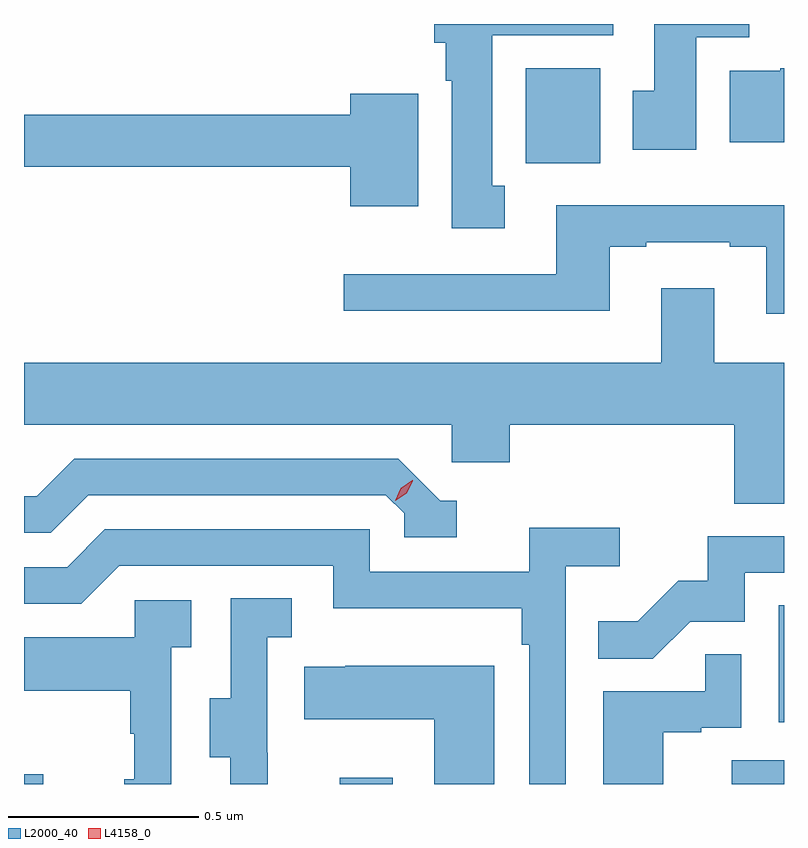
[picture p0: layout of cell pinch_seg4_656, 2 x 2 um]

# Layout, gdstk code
import gdstk
lib = gdstk.Library(unit=1e-6, precision=1e-09)
def R(c, l, rs):  # rectangles x0, y0, x1, y1
    for r in rs: c.add(gdstk.rectangle(r[:2], r[2:], *l))
def P(c, l, *ps):  # polygons
    for p in ps: c.add(gdstk.Polygon(p, *l))
L2000_40 = (2000, 40)
L4158_0 = (4158, 0)

pinch_seg4_656 = lib.new_cell('pinch_seg4_656')
R(pinch_seg4_656, L2000_40, [(1049.378,755.915,1049.429,755.941), (1050.209,755.915,1050.349,755.932), (1051.241,755.915,1051.378,755.978), (1051.364,756.078,1051.378,756.385), (1050.699,757.548,1050.895,757.798)])
P(pinch_seg4_656, L2000_40, [(1050.643,757.489),(1050.61,757.489),(1050.61,757.886),(1050.928,757.886),(1050.928,757.915),(1050.458,757.915),(1050.458,757.866),(1050.488,757.866),(1050.488,757.766),(1050.503,757.766),(1050.503,757.377),(1050.643,757.377)],
  [(1051.147,757.88),(1051.286,757.88),(1051.286,757.915),(1051.037,757.915),(1051.037,757.74),(1050.98,757.74),(1050.98,757.584),(1051.147,757.584)],
  [(1051.378,757.798),(1051.368,757.798),(1051.368,757.792),(1051.235,757.792),(1051.235,757.604),(1051.378,757.604)],
  [(1050.415,757.732),(1050.236,757.732),(1050.236,757.676),(1049.378,757.676),(1049.378,757.54),(1050.236,757.54),(1050.236,757.436),(1050.415,757.436)],
  [(1051.378,757.438),(1050.779,757.438),(1050.779,757.257),(1050.219,757.257),(1050.219,757.16),(1050.919,757.16),(1050.919,757.329),(1051.015,757.329),(1051.015,757.341),(1051.235,757.341),(1051.235,757.329),(1051.331,757.329),(1051.331,757.152),(1051.378,757.152)],
  [(1051.378,757.024),(1051.195,757.024),(1051.195,757.219),(1051.055,757.219),(1051.055,757.024),(1049.378,757.024),(1049.378,756.86),(1050.504,756.86),(1050.504,756.762),(1050.656,756.762),(1050.656,756.86),(1051.247,756.86),(1051.247,756.652),(1051.378,756.652)],
  [(1050.517,756.66),(1050.474,756.66),(1050.363,756.771),(1049.51,756.771),(1049.411,756.672),(1049.378,756.672),(1049.378,756.576),(1049.448,756.576),(1049.547,756.675),(1050.33,756.675),(1050.378,756.627),(1050.378,756.564),(1050.517,756.564)],
  [(1050.804,756.488),(1050.946,756.488),(1050.946,756.59),(1050.707,756.59),(1050.707,756.474),(1050.288,756.474),(1050.288,756.585),(1049.591,756.585),(1049.492,756.486),(1049.378,756.486),(1049.378,756.39),(1049.529,756.39),(1049.628,756.489),(1050.192,756.489),(1050.192,756.377),(1050.688,756.377),(1050.688,756.281),(1050.708,756.281),(1050.708,755.915),(1050.804,755.915)],
  [(1051.131,756.342),(1051.275,756.342),(1051.275,756.471),(1051.378,756.471),(1051.378,756.567),(1051.177,756.567),(1051.177,756.45),(1051.1,756.45),(1050.993,756.343),(1050.889,756.343),(1050.889,756.244),(1051.033,756.244)],
  [(1050.02,755.997),(1050.018,755.997),(1050.018,756.301),(1050.082,756.301),(1050.082,756.404),(1049.922,756.404),(1049.922,756.141),(1049.867,756.141),(1049.867,755.986),(1049.921,755.986),(1049.921,755.915),(1050.02,755.915)],
  [(1049.766,756.275),(1049.818,756.275),(1049.818,756.399),(1049.67,756.399),(1049.67,756.301),(1049.378,756.301),(1049.378,756.161),(1049.658,756.161),(1049.658,756.047),(1049.668,756.047),(1049.668,755.928),(1049.642,755.928),(1049.642,755.915),(1049.766,755.915)],
  [(1051.06,756.051),(1051.16,756.051),(1051.16,756.063),(1051.266,756.063),(1051.266,756.257),(1051.171,756.257),(1051.171,756.159),(1050.902,756.159),(1050.902,755.915),(1051.06,755.915)],
  [(1050.616,756.226),(1050.223,756.226),(1050.223,756.223),(1050.115,756.223),(1050.115,756.086),(1050.458,756.086),(1050.458,755.915),(1050.616,755.915)])
P(pinch_seg4_656, L4158_0, [(1050.355,756.66),(1050.355,756.66),(1050.37,756.693),(1050.4,756.714),(1050.401,756.714),(1050.401,756.713),(1050.385,756.68),(1050.355,756.66)])

lib.write_gds('pinch_seg4_656.gds')
